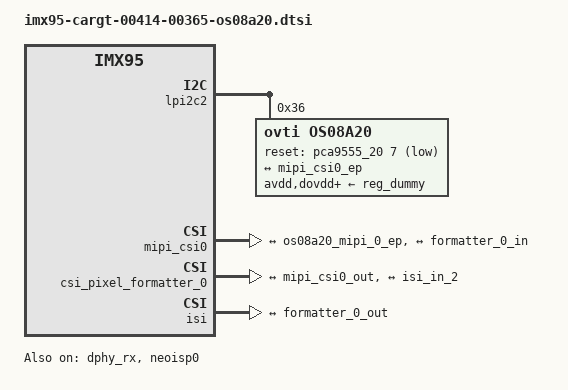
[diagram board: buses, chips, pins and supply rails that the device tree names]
// SPDX-License-Identifier: (GPL-2.0+ OR MIT)
/*
 * Copyright 2026 Cargt
 *
 * OmniVision OS08A20 MIPI CSI-2 camera on the 00365 camera connector
 * (OSM CSI_A = i.MX 95 MIPI CSI0, 4 lanes), as used with the 00377.
 *
 * Control is on I2C_A (LPI2C2, 3.3 V side of the 00365 level shifter). CAM_PWR
 * (pca9555 P07) powers the module, so it is the sensor's reset-gpios: the
 * ox05b1s driver deasserts it (line high) on power-up and asserts it (low) on
 * power-down. The sensor is driven by the NXP ox05b1s driver
 * (CONFIG_VIDEO_OX05B1S), raw frames go MIPI CSI0 -> pixel formatter -> ISI,
 * and processing is done by the NEO ISP (libcamera), as on the i.MX 95 EVK.
 */

&lpi2c2 {
	os08a20: camera@36 {
		compatible = "ovti,os08a20";
		reg = <0x36>;
		clocks = <&dummy>;
		reset-gpios = <&pca9555_20 7 GPIO_ACTIVE_LOW>;
		avdd-supply = <&reg_dummy>;
		dovdd-supply = <&reg_dummy>;
		dvdd-supply = <&reg_dummy>;
		orientation = <2>;
		rotation = <0>;

		port {
			os08a20_mipi_0_ep: endpoint {
				remote-endpoint = <&mipi_csi0_ep>;
				data-lanes = <1 2 3 4>;
				clock-lanes = <0>;
			};
		};
	};
};

&dphy_rx {
	status = "okay";
};

&mipi_csi0 {
	status = "okay";

	ports {
		#address-cells = <1>;
		#size-cells = <0>;

		port@0 {
			reg = <0>;

			mipi_csi0_ep: endpoint {
				remote-endpoint = <&os08a20_mipi_0_ep>;
				data-lanes = <1 2 3 4>;
				clock-lanes = <0>;
			};
		};

		port@1 {
			reg = <1>;

			mipi_csi0_out: endpoint {
				remote-endpoint = <&formatter_0_in>;
			};
		};
	};
};

&csi_pixel_formatter_0 {
	status = "okay";

	ports {
		#address-cells = <1>;
		#size-cells = <0>;

		port@0 {
			reg = <0>;

			formatter_0_in: endpoint {
				remote-endpoint = <&mipi_csi0_out>;
			};
		};

		port@1 {
			reg = <1>;

			formatter_0_out: endpoint {
				remote-endpoint = <&isi_in_2>;
			};
		};
	};
};

&isi {
	status = "okay";

	ports {
		#address-cells = <1>;
		#size-cells = <0>;

		port@2 {
			reg = <2>;

			isi_in_2: endpoint {
				remote-endpoint = <&formatter_0_out>;
			};
		};
	};
};

&neoisp0 {
	status = "okay";
};
